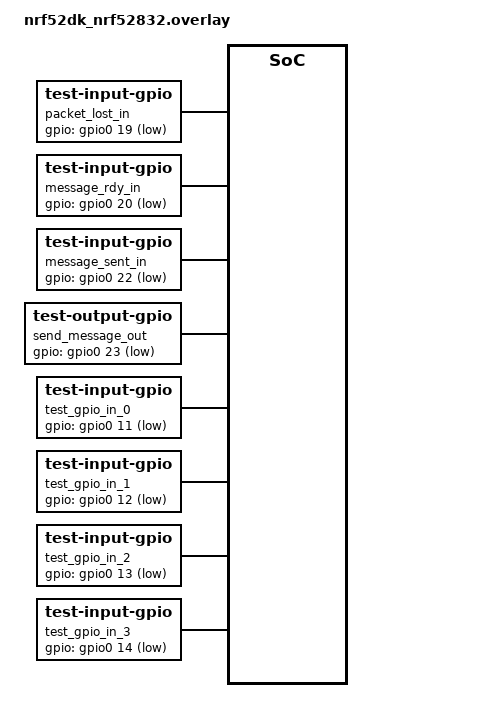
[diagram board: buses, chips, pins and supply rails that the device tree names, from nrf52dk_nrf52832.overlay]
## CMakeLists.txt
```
cmake_minimum_required(VERSION 3.13.1)

find_package(Zephyr REQUIRED HINTS $ENV{ZEPHYR_BASE})
project(benchmark)

# NORDIC SDK APP START
target_sources(app PRIVATE
  src/main.c
)
# NORDIC SDK APP END

zephyr_library_include_directories(.)
```

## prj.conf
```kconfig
CONFIG_GPIO=y
# Config logger
CONFIG_LOG=y
CONFIG_LOG_BACKEND_FORMAT_TIMESTAMP=n
CONFIG_LOG_FUNC_NAME_PREFIX_INF=n
CONFIG_USE_SEGGER_RTT=y
CONFIG_LOG_BACKEND_RTT=y
CONFIG_LOG_BACKEND_UART=n

CONFIG_MIDI=y

CONFIG_TEST_GPIO_IN=y
```

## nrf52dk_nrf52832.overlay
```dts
/ {
	packet_lost_in: packet_lost_in {
		compatible = "test-input-gpio";
                /* using built-in LED pin for demonstration */
		gpios = <&gpio0 19  (GPIO_PULL_UP | GPIO_ACTIVE_LOW)>;
	};
};

/ {
	message_rdy_in: message_rdy_in {
		compatible = "test-input-gpio";
                /* using built-in LED pin for demonstration */
		gpios = <&gpio0 20  (GPIO_PULL_UP | GPIO_ACTIVE_LOW)>;
	};
};

/ {
	message_sent_in: message_sent_in {
		compatible = "test-input-gpio";
                /* using built-in LED pin for demonstration */
		gpios = <&gpio0 22  (GPIO_PULL_UP | GPIO_ACTIVE_LOW)>;
	};
};

/ {
	send_message_out: send_message_out {
		compatible = "test-output-gpio";
                /* using built-in LED pin for demonstration */
		gpios = <&gpio0 23  (GPIO_PULL_UP | GPIO_ACTIVE_LOW)>;
	};
};

/ {
	test_gpio_in_0: test_gpio_in_0 {
		compatible = "test-input-gpio";
                /* using built-in LED pin for demonstration */
		gpios = <&gpio0 11  (GPIO_PULL_DOWN | GPIO_ACTIVE_LOW)>;
	};
};

/ {
	test_gpio_in_1: test_gpio_in_1 {
		compatible = "test-input-gpio";
                /* using built-in LED pin for demonstration */
		gpios = <&gpio0 12  (GPIO_PULL_DOWN | GPIO_ACTIVE_LOW)>;
	};
};

/ {
	test_gpio_in_2: test_gpio_in_2 {
		compatible = "test-input-gpio";
                /* using built-in LED pin for demonstration */
		gpios = <&gpio0 13  (GPIO_PULL_DOWN | GPIO_ACTIVE_LOW)>;
	};
};

/ {
	test_gpio_in_3: test_gpio_in_3 {
		compatible = "test-input-gpio";
                /* using built-in LED pin for demonstration */
		gpios = <&gpio0 14  (GPIO_PULL_DOWN | GPIO_ACTIVE_LOW)>;
	};
};
```

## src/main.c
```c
#include <zephyr/types.h>
#include <zephyr/device.h>
#include <soc.h>

#include <zephyr/devicetree.h>
#include <zephyr/drivers/gpio.h>
#include <zephyr/sys/util.h>
#include <zephyr/kernel.h>

#include <test_gpio_in.h>

#include <zephyr/logging/log.h>

#define LOG_MODULE_NAME t
LOG_MODULE_REGISTER(LOG_MODULE_NAME);


#if !DT_NODE_EXISTS(DT_NODELABEL(packet_lost_in))
#error "Overlay for packet_lost_in node not properly defined."
#endif

#if !DT_NODE_EXISTS(DT_NODELABEL(message_rdy_in))
#error "Overlay for message_rdy_in node not properly defined."
#endif

#if !DT_NODE_EXISTS(DT_NODELABEL(message_sent_in))
#error "Overlay for message_sent_in node not properly defined."
#endif

#if !DT_NODE_EXISTS(DT_NODELABEL(send_message_out))
#error "Overlay for send_message_out node not properly defined."
#endif

static const struct gpio_dt_spec packet_lost_in =
	GPIO_DT_SPEC_GET_OR(DT_NODELABEL(packet_lost_in), gpios, {0});
static struct gpio_callback packet_lost_in_cb_data;

static const struct gpio_dt_spec message_rdy_in =
	GPIO_DT_SPEC_GET_OR(DT_NODELABEL(message_rdy_in), gpios, {0});
static struct gpio_callback message_rdy_in_cb_data;

static const struct gpio_dt_spec message_sent_in =
	GPIO_DT_SPEC_GET_OR(DT_NODELABEL(message_sent_in), gpios, {0});
static struct gpio_callback message_sent_in_cb_data;

static const struct gpio_dt_spec send_message_out =
	GPIO_DT_SPEC_GET_OR(DT_NODELABEL(send_message_out), gpios, {0});

void packet_lost_in_cb(const struct device *dev, struct gpio_callback *cb,
		    uint32_t pins)
{
	int64_t time = k_ticks_to_us_near64(k_uptime_ticks());
	LOG_RAW("\nL %lld", time);
}

void message_rdy_in_cb(const struct device *dev, struct gpio_callback *cb,
		    uint32_t pins)
{
	int64_t time = k_ticks_to_us_near64(k_uptime_ticks());
	LOG_RAW("\nR %lld", time);
}

void message_sent_in_cb(const struct device *dev, struct gpio_callback *cb,
		    uint32_t pins)
{
	int64_t time = k_ticks_to_us_near64(k_uptime_ticks());
	LOG_RAW("\nmessage sent in gpio toggled %lld", time);
}

void test_gpio_0_cb(void)
{
	int64_t time = k_ticks_to_us_near64(k_uptime_ticks());
	LOG_RAW("\n0 %lld", time);
}

void test_gpio_1_cb(void)
{
	int64_t time = k_ticks_to_us_near64(k_uptime_ticks());
	LOG_RAW("\n1 %lld", time);
}

void test_gpio_2_cb(void)
{
	int64_t time = k_ticks_to_us_near64(k_uptime_ticks());
	LOG_RAW("\n2 %lld", time);
}

void test_gpio_3_cb(void)
{
	int64_t time = k_ticks_to_us_near64(k_uptime_ticks());
	LOG_RAW("\n3 %lld", time);
}

void main(void)
{
	int err;
	LOG_INF("Test sample running");

	test_gpio_in_init();

	register_test_callback(test_gpio_0_cb, 0);
	register_test_callback(test_gpio_1_cb, 1);
	register_test_callback(test_gpio_2_cb, 2);
	register_test_callback(test_gpio_3_cb, 3);

	if (!gpio_is_ready_dt(&packet_lost_in)) {
		LOG_INF("The packet_lost_in pin GPIO port is not ready.\n");
		return;
	}

	if (!gpio_is_ready_dt(&message_rdy_in)) {
		LOG_INF("The message_rdy_in pin GPIO port is not ready.\n");
		return;
	}

	if (!gpio_is_ready_dt(&message_sent_in)) {
		LOG_INF("The message_sent_in pin GPIO port is not ready.\n");
		return;
	}

	if (!gpio_is_ready_dt(&send_message_out)) {
		LOG_INF("The send_message_out pin GPIO port is not ready.\n");
		return;
	}

	err = gpio_pin_configure_dt(&packet_lost_in, GPIO_INPUT);
	if (err != 0) {
		LOG_INF("Configuring GPIO pin failed: %d\n", err);
		return;
	}

	err = gpio_pin_configure_dt(&message_rdy_in, GPIO_INPUT);
	if (err != 0) {
		LOG_INF("Configuring GPIO pin failed: %d\n", err);
		return;
	}

	err = gpio_pin_configure_dt(&message_sent_in, GPIO_INPUT);
	if (err != 0) {
		LOG_INF("Configuring GPIO pin failed: %d\n", err);
		return;
	}

	err = gpio_pin_configure_dt(&send_message_out, GPIO_OUTPUT_INACTIVE);
	if (err != 0) {
		LOG_INF("Configuring GPIO pin failed: %d\n", err);
		return;
	}

	err = gpio_pin_interrupt_configure_dt(&packet_lost_in,
					      GPIO_INT_EDGE_BOTH);
	if (err != 0) {
		LOG_INF("Error %d: failed to configure interrupt on %s pin %d",
			err, packet_lost_in.port->name, packet_lost_in.pin);
		return;
	}

	err = gpio_pin_interrupt_configure_dt(&message_rdy_in,
					      GPIO_INT_EDGE_BOTH);
	if (err != 0) {
		LOG_INF("Error %d: failed to configure interrupt on %s pin %d",
			err, message_rdy_in.port->name, message_rdy_in.pin);
		return;
	}

	err = gpio_pin_interrupt_configure_dt(&message_sent_in,
					      GPIO_INT_EDGE_BOTH);
	if (err != 0) {
		LOG_INF("Error %d: failed to configure interrupt on %s pin %d",
			err, message_sent_in.port->name, message_sent_in.pin);
		return;
	}

	gpio_init_callback(&packet_lost_in_cb_data, packet_lost_in_cb, 
		BIT(packet_lost_in.pin));

	gpio_init_callback(&message_rdy_in_cb_data, message_rdy_in_cb, 
		BIT(message_rdy_in.pin));

	gpio_init_callback(&message_sent_in_cb_data, message_sent_in_cb, 
		BIT(message_sent_in.pin));

	err = gpio_add_callback(packet_lost_in.port, &packet_lost_in_cb_data);
	if (err)
	{
		LOG_INF("gpio add callback failed");
	}
	
	err = gpio_add_callback(message_rdy_in.port, &message_rdy_in_cb_data);
	if (err)
	{
		LOG_INF("gpio add callback failed");
	}
	
	err = gpio_add_callback(message_sent_in.port, &message_sent_in_cb_data);
	if (err)
	{
		LOG_INF("gpio add callback failed");
	}
	int64_t time;
	for (;;)
	{

		k_sleep(K_USEC(105000));
		err = gpio_pin_toggle(send_message_out.port, send_message_out.pin);
		if(err) {
			LOG_INF("failed to toggle send message out pin");
		}
		time = k_ticks_to_us_near64(k_uptime_ticks());
		LOG_RAW("\nS %lld", time);


		// k_sleep(K_USEC(2000));
		// err = gpio_pin_toggle(send_message_out.port, send_message_out.pin);
		// if(err) {
		// 	LOG_INF("failed to toggle send message out pin");
		// }
		// time = k_ticks_to_us_near64(k_uptime_ticks());
		// LOG_RAW("\nS %lld", time);

	}
}
```
